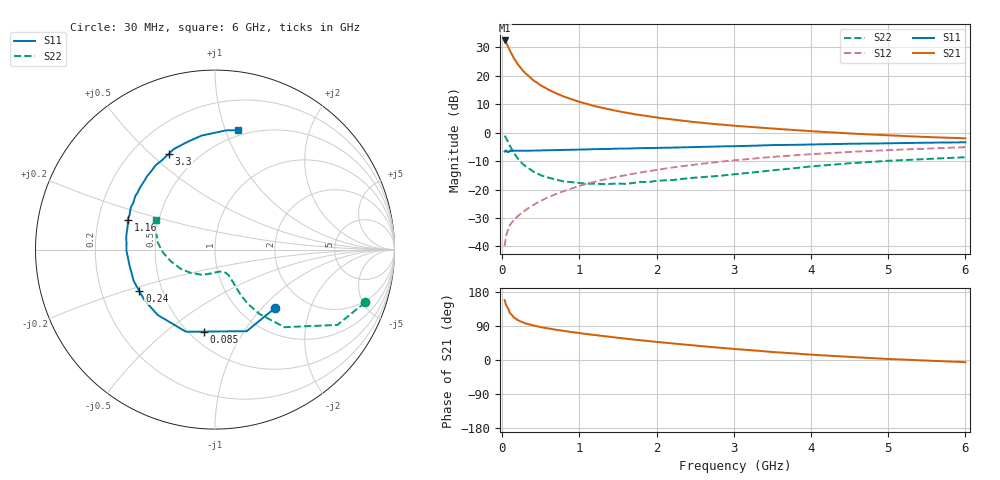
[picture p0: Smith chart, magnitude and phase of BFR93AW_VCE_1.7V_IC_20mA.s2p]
! Infineon Technologies  Discrete & RF Semiconductors
! BFR93AW
! VCE =  1.7 V,  IC =  20 mA
! Common Emitter S-Parameters:  Nov 2015
# GHz  S  MA  R  50
!  f  S11  S21  S12  S22
! GHz  MAG  ANG  MAG  ANG  MAG  ANG  MAG  ANG
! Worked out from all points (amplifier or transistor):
!   206 points, 30 MHz to 6 GHz, reference 50 ohm
!   highest |S21| = 32.4 dB at 30 MHz (marker M1)
!   |S21| within 3 dB of that: start of sweep to 88.1 MHz
!   unconditionally stable (mu >= 1): 511.6 MHz to 2.394 GHz
!   at 200 MHz: K = 0.72, MSG = 26.7 dB, |S12| = -29.4 dB
!   at 1.56 GHz: K = 1.05, MAG = 9.8 dB, |S12| = -15.1 dB
!   at 6 GHz: K = 0.95, MSG = 1.6 dB, |S12| = -5.1 dB
!   S11 on the Smith chart (normalised r, x): 30 MHz: 1.43, -1.19; 85 MHz: 0.59, -0.69; 240 MHz: 0.37, -0.22; 1.16 GHz: 0.33, +0.15; 3.3 GHz: 0.35, +0.57; 6 GHz: 0.45, +1.11
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0.03  0.4669 -44.2  41.9 158.1  0.0101 73.4  0.8865 -19.4
0.05  0.4877 -68.8  38.3 144.2  0.0156 67.6  0.8009 -31.6
0.085  0.4607 -97.5  30.28 131.2  0.0213 60.6  0.6401 -42.0
0.1  0.4855 -109.5  27.51 123.5  0.0239 58.6  0.5802 -48.2
0.15  0.4843 -131.2  20.37 112.3  0.0293 56.9  0.4367 -55.3
0.2  0.4837 -143.7  16.02 105.2  0.034 57.6  0.3521 -58.8
0.24  0.481 -151.1  13.66 101.4  0.0378 58.7  0.3054 -60.0
0.3  0.4854 -159.2  11.06 96.6  0.0433 61.7  0.2576 -60.9
0.4  0.4841 -168.4  8.395 91.0  0.0532 64.2  0.2078 -61.0
0.5  0.4877 -174.8  6.784 86.6  0.0633 66.1  0.178 -61.6
0.6  0.4935 -179.5  5.688 83.0  0.0735 67.5  0.161 -62.0
0.7  0.4941 176.2  4.911 79.6  0.0839 68.2  0.1498 -63.5
0.8  0.4992 172.3  4.307 76.5  0.0942 68.5  0.1387 -66.4
1.04  0.5049 164.6  3.36 70.0  0.1205 68.2  0.1291 -72.1
1.16  0.512 161.4  3.029 66.9  0.1331 67.8  0.127 -76.6
1.5  0.525 153.1  2.384 58.6  0.169 65.9  0.1279 -88.2
2.02  0.5418 140.7  1.834 47.3  0.2246 61.7  0.1433 -106.7
3.1  0.5825 119.3  1.298 27.7  0.3357 51.2  0.1909 -138.5
3.3  0.5929 115.7  1.238 24.6  0.3552 48.9  0.2037 -144.8
4.1  0.6231 102.6  1.044 13.0  0.4269 40.0  0.2614 -167.9
5.1  0.6532 89.3  0.886 1.9  0.5001 29.0  0.3249 170.9
6  0.6771 79.1  0.797 -5.6  0.5568 19.9  0.3705 153.1
